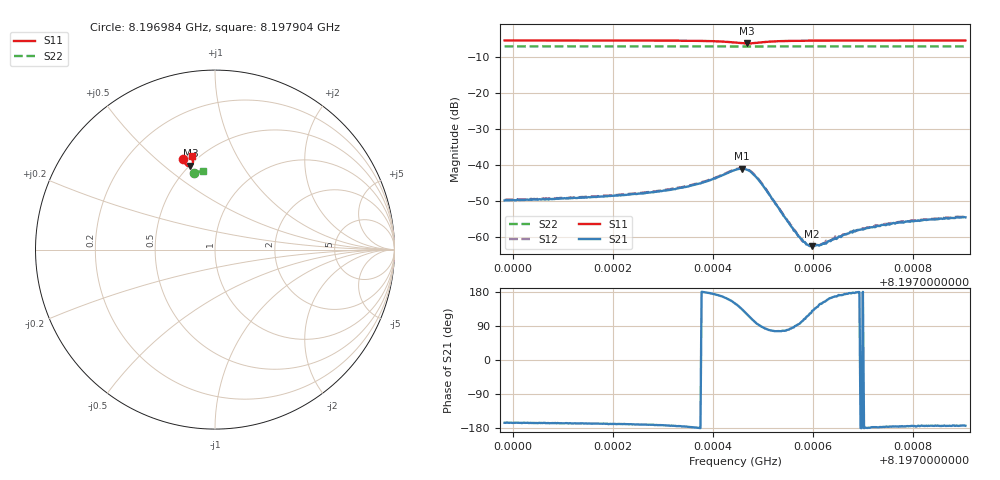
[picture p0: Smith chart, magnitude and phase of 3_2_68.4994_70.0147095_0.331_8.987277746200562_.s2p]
#  HZ  S  RI  R  50.00
! Rohde & Schwarz Vector Network Analyzer
! Rohde-Schwarz,ZNB20-2Port,1311601062101988,3.16
! Created: UTC 3/20/2024, 4:48:42 PM
! freq[Hz]  re:S11  im:S11  re:S21  im:S21  re:S12  im:S12  re:S22  im:S22
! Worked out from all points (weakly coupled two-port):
!   401 points, 8.196984 GHz to 8.197904 GHz, reference 50 ohm
!   highest |S21| = -41.04 dB at 8.197458 GHz (marker M1); lowest = -62.6 dB at 8.197598 GHz (marker M2)
!   lowest |S11| = -6.3 dB at 8.197467 GHz (marker M3), VSWR 2.90, Z = 25.2 + j30.9 ohm
!   |S11| at or under -10 dB: nowhere
!   |S22| runs from -7.1 to -7.0 dB; largest |S21 - S12| = 0.00044
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8.1969839e9  -0.1804 0.5048  -0.0031 -0.000789  -0.00318 -0.000679  -0.1154 0.4288
8.197138e9  -0.1681 0.5085  -0.0034 -0.000761  -0.00352 -0.000624  -0.1072 0.4308
8.1972209e9  -0.1606 0.5101  -0.00371 -0.000719  -0.00387 -0.000557  -0.1025 0.4317
8.1972922e9  -0.1528 0.5113  -0.00422 -0.000615  -0.00435 -0.000448  -0.0983 0.4324
8.1973428e9  -0.1454 0.5114  -0.00487 -0.00041  -0.00497 -0.000223  -0.0954 0.4328
8.197375e9  -0.1392 0.5099  -0.00551 -3.44e-05  -0.00565 0.000181  -0.0936 0.4331
8.1974441e9  -0.1227 0.4856  -0.00733 0.00429  -0.00728 0.00467  -0.0896 0.4331
8.1974579e9  -0.1283 0.4732  -0.00619 0.00636  -0.00598 0.00673  -0.089 0.433
8.1974671e9  -0.1371 0.4671  -0.00455 0.0073  -0.00435 0.00765  -0.0887 0.4329
8.1974786e9  -0.1507 0.4665  -0.00221 0.00733  -0.00193 0.00756  -0.0885 0.4331
8.1974947e9  -0.1635 0.476  2.9e-05 0.00574  0.000279 0.00588  -0.0881 0.4335
8.1975568e9  -0.1613 0.504  0.000156 0.00137  0.000227 0.00142  -0.0844 0.4349
8.1975729e9  -0.1586 0.5068  -9.94e-05 0.000993  -8.06e-05 0.00099  -0.0836 0.435
8.1975821e9  -0.1573 0.5079  -0.000268 0.00081  -0.000213 0.000839  -0.0829 0.4351
8.197589e9  -0.1562 0.5088  -0.000343 0.000698  -0.00032 0.000737  -0.0825 0.4352
8.1975982e9  -0.1549 0.5097  -0.000475 0.000568  -0.000455 0.000586  -0.082 0.4353
8.1976212e9  -0.1518 0.5114  -0.00071 0.000361  -0.000701 0.000422  -0.0807 0.4355
8.1976489e9  -0.1486 0.5133  -0.000947 0.000183  -0.000964 0.000213  -0.0791 0.4358
8.1976857e9  -0.1446 0.5149  -0.00122 2.84e-05  -0.0012 9.25e-05  -0.0769 0.4361
8.1977524e9  -0.1382 0.5171  -0.00147 -0.000108  -0.00154 -3.66e-05  -0.0733 0.4366
8.1977869e9  -0.1353 0.518  -0.00162 -0.000152  -0.00162 -0.000112  -0.0713 0.437
8.1979043e9  -0.1258 0.5205  -0.00185 -0.000213  -0.0019 -0.00015  -0.0647 0.4378
